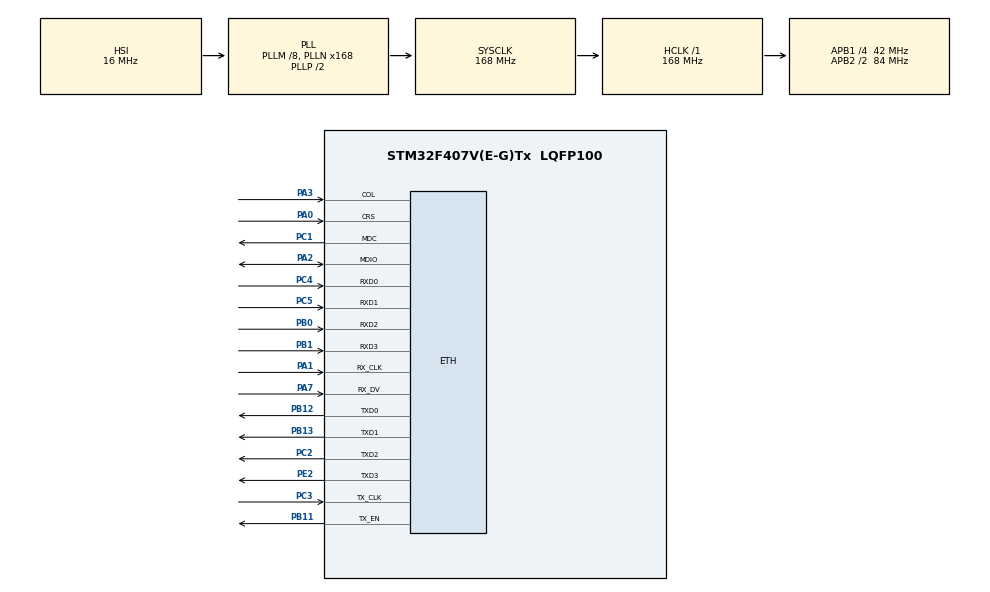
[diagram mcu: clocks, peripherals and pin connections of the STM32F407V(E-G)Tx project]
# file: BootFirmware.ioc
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ETH.MediaInterface=HAL_ETH_MII_MODE
LWIP.BSP.number=1
LWIP.IP_ADDRESS=192.168.010.200
LWIP.LWIP_DHCP=0
LWIP.NETMASK_ADDRESS=255.255.255.000
LWIP.Version=v2.1.2_Cube
LWIP0.BSP.STBoard=false
LWIP0.BSP.api=BSP_COMPONENT_DRIVER
LWIP0.BSP.component=DP83848
LWIP0.BSP.instance=DP83848
LWIP0.BSP.name=Driver_PHY
LWIP0.BSP.semaphore=S_DP83848
LWIP0.BSP.solution=DP83848
Mcu.Family=STM32F4
Mcu.Name=STM32F407V(E-G)Tx
Mcu.Package=LQFP100
NVIC.PriorityGroup=NVIC_PRIORITYGROUP_4
PA0-WKUP.Mode=MII
PA0-WKUP.Signal=ETH_CRS
PA1.Mode=MII
PA1.Signal=ETH_RX_CLK
PA13.Mode=Serial_Wire
PA13.Signal=SYS_JTMS-SWDIO
PA14.Mode=Serial_Wire
PA14.Signal=SYS_JTCK-SWCLK
PA2.Mode=MII
PA2.Signal=ETH_MDIO
PA3.Mode=MII
PA3.Signal=ETH_COL
PA7.Mode=MII
PA7.Signal=ETH_RX_DV
PB0.Mode=MII
PB0.Signal=ETH_RXD2
PB1.Mode=MII
PB1.Signal=ETH_RXD3
PB11.Mode=MII
PB11.Signal=ETH_TX_EN
PB12.Mode=MII
PB12.Signal=ETH_TXD0
PB13.Mode=MII
PB13.Signal=ETH_TXD1
PC1.Mode=MII
PC1.Signal=ETH_MDC
PC2.Mode=MII
PC2.Signal=ETH_TXD2
PC3.Mode=MII
PC3.Signal=ETH_TX_CLK
PC4.Mode=MII
PC4.Signal=ETH_RXD0
PC5.Mode=MII
PC5.Signal=ETH_RXD1
PE2.Mode=MII
PE2.Signal=ETH_TXD3
PH0-OSC_IN.Mode=HSE-External-Oscillator
PH0-OSC_IN.Signal=RCC_OSC_IN
PH1-OSC_OUT.Mode=HSE-External-Oscillator
PH1-OSC_OUT.Signal=RCC_OSC_OUT
ProjectManager.HeapSize=0x200
ProjectManager.StackSize=0x400
ProjectManager.TargetToolchain=STM32CubeIDE
RCC.48MHZClocksFreq_Value=84000000
RCC.AHBFreq_Value=168000000
RCC.APB1CLKDivider=RCC_HCLK_DIV4
RCC.APB1Freq_Value=42000000
RCC.APB1TimFreq_Value=84000000
RCC.APB2CLKDivider=RCC_HCLK_DIV2
RCC.APB2Freq_Value=84000000
RCC.APB2TimFreq_Value=168000000
RCC.CortexFreq_Value=168000000
RCC.HCLKFreq_Value=168000000
RCC.HSE_VALUE=25000000
RCC.HSI_VALUE=16000000
RCC.LSE_VALUE=32768
RCC.PLLM=8
RCC.PLLN=168
RCC.SYSCLKFreq_VALUE=168000000
RCC.SYSCLKSource=RCC_SYSCLKSOURCE_PLLCLK
RCC.VCOOutputFreq_Value=336000000
VP_IWDG_VS_IWDG.Mode=IWDG_Activate
VP_LWIP_VS_Enabled.Mode=Enabled
board=custom

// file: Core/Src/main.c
/* USER CODE BEGIN Header */
/**
  ******************************************************************************
  * @file           : main.c
  * @brief          : Main program body
  ******************************************************************************
  * @attention
  *
  * Copyright (c) 2025 STMicroelectronics.
  * All rights reserved.
  *
  * This software is licensed under terms that can be found in the LICENSE file
  * in the root directory of this software component.
  * If no LICENSE file comes with this software, it is provided AS-IS.
  *
  ******************************************************************************
  */
/* USER CODE END Header */
#include "main.h"
#include "iwdg.h"
#include "lwip.h"
#include "gpio.h"

/* USER CODE BEGIN Includes */
#include "flash_if.h"
#include "dp83848.h"
#include <stdbool.h>
/* USER CODE END Includes */

/* USER CODE BEGIN PD */
#define TEM_MEMORY_START			ADDR_FLASH_SECTOR_5											/* Start @ of user Flash area */
#define TEMP_MEMORY_STOP    		ADDR_FLASH_SECTOR_7  +  GetSectorSize(FLASH_SECTOR_7) -1 	/* End @ of user Flash area : sector start address + sector size -1 */
#define INFORMATION_MEMORY			ADDR_FLASH_SECTOR_11
#define MAIN_MEMORY					ADDR_FLASH_SECTOR_8

#define VALID_LINK_ESTABLISHED		0x0001

#define UPDATE_FIRMWARE_DETECT		0x55
/* USER CODE END PD */

/* USER CODE BEGIN PV */
extern dp83848_Object_t DP83848;
extern struct netif gnetif;
uint32_t save_add = ADDR_FLASH_SECTOR_11;
uint32_t num_word = 0;
uint8_t ret;
volatile bool updateEvent = false;
/* USER CODE END PV */

void SystemClock_Config(void);
/* USER CODE BEGIN PFP */
static void JumpToMain(void);
uint8_t CheckFirmwareUpdateRequest(void);
void Flag_UpdateFOTA(void);
/* USER CODE END PFP */

int main(void)
{

  /* MCU Configuration--------------------------------------------------------*/

  /* Reset of all peripherals, Initializes the Flash interface and the Systick. */
  HAL_Init();

  /* USER CODE BEGIN Init */
  /*Activate mask fault*/
  SCB->SHCSR |= SCB_SHCSR_MEMFAULTENA_Msk;
  SCB->SHCSR |= SCB_SHCSR_BUSFAULTACT_Msk;
  SCB->SHCSR |= SCB_SHCSR_USGFAULTENA_Msk;
  /* USER CODE END Init */

  /* Configure the system clock */
  SystemClock_Config();

  /* USER CODE BEGIN SysInit */
  ethernetif_init(&gnetif);
  /*Check ethernet connection*/
  uint32_t regvalue = 0;

  while (!(regvalue & VALID_LINK_ESTABLISHED))
  {
	  HAL_ETH_ReadPHYRegister(&heth, DP83848_PHY_ADDRESS, PHY_SR, &regvalue);
	  printf("Plug in Ethernet Jack\n\r");
	  HAL_Delay(100);
  }
  /* USER CODE END SysInit */

  /* Initialize all configured peripherals */
  MX_GPIO_Init();
  MX_LWIP_Init();
  MX_IWDG_Init();
  /* USER CODE BEGIN 2 */
  uint32_t tick_current = HAL_GetTick();
  /* USER CODE END 2 */

  /* Infinite loop */
  while (1)
  {

    /* USER CODE BEGIN 3 */
	  tick_current = HAL_GetTick();
	  while(HAL_GetTick() - tick_current < 5000) //Loop in Bootloader Firmware for 5s
	  {
		  MX_LWIP_Process();
		  ret = CheckFirmwareUpdateRequest();
		  switch(ret)
		  {
		  case 0:
			  printf("False state");
			  Error_Handler();
			  break;
		  case 1:
			  Flag_UpdateFOTA();
			  JumpToMain();
			  break;
		  case 2:
			  updateEvent = true;
			  //Dummy OTA event handling here
			  break;
		  default:
			  break;
		  }
	  }
  }
  /* USER CODE END 3 */
}

void SystemClock_Config(void)
{
  RCC_OscInitTypeDef RCC_OscInitStruct = {0};
  RCC_ClkInitTypeDef RCC_ClkInitStruct = {0};

  /** Configure the main internal regulator output voltage
  */
  __HAL_RCC_PWR_CLK_ENABLE();
  __HAL_PWR_VOLTAGESCALING_CONFIG(PWR_REGULATOR_VOLTAGE_SCALE1);

  /** Initializes the RCC Oscillators according to the specified parameters
  * in the RCC_OscInitTypeDef structure.
  */
  RCC_OscInitStruct.OscillatorType = RCC_OSCILLATORTYPE_HSI|RCC_OSCILLATORTYPE_LSI;
  RCC_OscInitStruct.HSIState = RCC_HSI_ON;
  RCC_OscInitStruct.HSICalibrationValue = RCC_HSICALIBRATION_DEFAULT;
  RCC_OscInitStruct.LSIState = RCC_LSI_ON;
  RCC_OscInitStruct.PLL.PLLState = RCC_PLL_ON;
  RCC_OscInitStruct.PLL.PLLSource = RCC_PLLSOURCE_HSI;
  RCC_OscInitStruct.PLL.PLLM = 8;
  RCC_OscInitStruct.PLL.PLLN = 168;
  RCC_OscInitStruct.PLL.PLLP = RCC_PLLP_DIV2;
  RCC_OscInitStruct.PLL.PLLQ = 4;
  if (HAL_RCC_OscConfig(&RCC_OscInitStruct) != HAL_OK)
  {
    Error_Handler();
  }

  /** Initializes the CPU, AHB and APB buses clocks
  */
  RCC_ClkInitStruct.ClockType = RCC_CLOCKTYPE_HCLK|RCC_CLOCKTYPE_SYSCLK
                              |RCC_CLOCKTYPE_PCLK1|RCC_CLOCKTYPE_PCLK2;
  RCC_ClkInitStruct.SYSCLKSource = RCC_SYSCLKSOURCE_PLLCLK;
  RCC_ClkInitStruct.AHBCLKDivider = RCC_SYSCLK_DIV1;
  RCC_ClkInitStruct.APB1CLKDivider = RCC_HCLK_DIV4;
  RCC_ClkInitStruct.APB2CLKDivider = RCC_HCLK_DIV2;

  if (HAL_RCC_ClockConfig(&RCC_ClkInitStruct, FLASH_LATENCY_5) != HAL_OK)
  {
    Error_Handler();
  }
}

/* USER CODE BEGIN 4 */
uint8_t dummy_event_1 = 0, dummy_event_2 = 0;
uint8_t CheckFirmwareUpdateRequest(void)
{
	//Implement your OTA checking event here
	if(dummy_event_1){ //Suppose this is normal boot->main operation
		return 1;
	}
	if(dummy_event_2){ //Suppose this is OTA handling state
		return 2;
	}
	else	//Error handler
		return 0;
}

void Flag_UpdateFOTA(void)
{
	HAL_FLASH_Unlock();
	FLASH_Erase_Sector(FLASH_SECTOR_11, FLASH_VOLTAGE_RANGE_3);
	FLASH_FlushCaches();
	HAL_FLASH_Program(FLASH_TYPEPROGRAM_WORD, (uint32_t) INFORMATION_MEMORY, UPDATE_FIRMWARE_DETECT); //enter FOTA firmware
	HAL_FLASH_Program(FLASH_TYPEPROGRAM_WORD, (uint32_t) INFORMATION_MEMORY + 4, num_word); //the number of data
	HAL_FLASH_Lock();
}

static void JumpToMain(void)
{
	uint32_t dest_addr, source_addr;
	uint32_t num_ww = 0;

	uint8_t flag = *(__IO uint32_t*)save_add;
	//Check flag, if 0x55 then update firmware
	if (flag == UPDATE_FIRMWARE_DETECT) {
		printf("New firmware\n\r");
		uint32_t length = *(__IO uint32_t*) (save_add + 4);
		printf("-> Delete main program\n\r");
		//Store new firmware
		Flash_If_Erase(MAIN_MEMORY, INFORMATION_MEMORY);
		HAL_FLASH_Unlock();
		dest_addr = MAIN_MEMORY;
		source_addr = TEM_MEMORY_START;
		printf("-> Write main program\n\r");
		while (num_ww < length) {
			if (HAL_FLASH_Program(TYPEPROGRAM_WORD, dest_addr, (*(__IO uint32_t*) source_addr)) == HAL_OK) {
				dest_addr += 4;
				source_addr += 4;
				num_ww++;
			} else
				Error_Handler();
		}
		HAL_FLASH_Lock();
		printf("-> Write success\n\r");
		//Erase flag after done writting to main memory in case of power loss event
		Flash_If_Erase(save_add, save_add);
	}
	printf("Proceeding to main memory now");

	SysTick->CTRL = 0x00; //Disables SysTick timer and its related interrupt
	SCB->SHCSR &= ~( SCB_SHCSR_USGFAULTENA_Msk |\
			SCB_SHCSR_BUSFAULTENA_Msk |
			SCB_SHCSR_MEMFAULTENA_Msk);
	// Set Stack Pointer Position
	__set_MSP(*((volatile uint32_t*)MAIN_MEMORY));
	__DMB(); //ARM says to use a DMB instruction before relocating VTOR */
	// Set Program Counter Position
	uint32_t JumpAddress = *((volatile uint32_t*) (MAIN_MEMORY + 4));
	void (*reset_handler)(void) = (void *)JumpAddress;
	reset_handler(); // jump to the main program
}
/* USER CODE END 4 */

void Error_Handler(void)
{
  __disable_irq();
  while (1)
  {
  }
}
